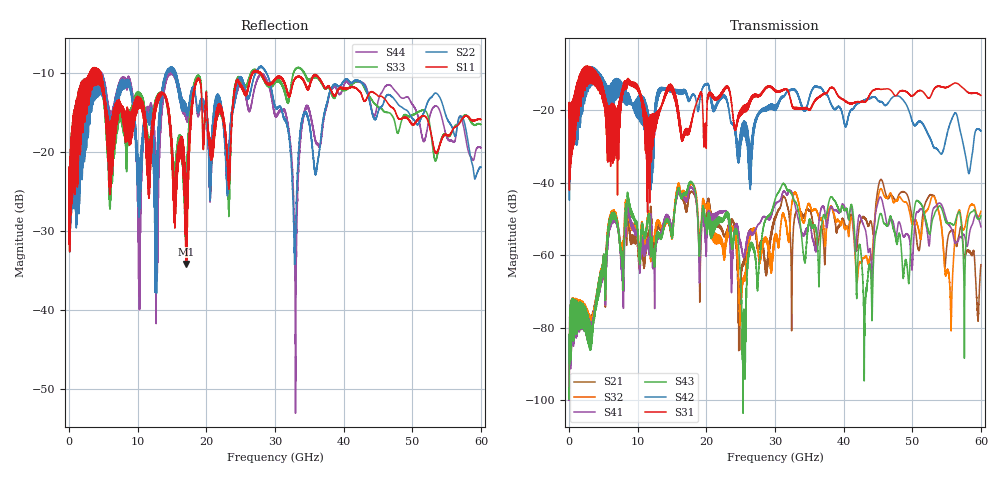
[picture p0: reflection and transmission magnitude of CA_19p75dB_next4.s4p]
!4 port subset of full cascaded channels using these ports:63 37 64 38
# Hz S RI R 50
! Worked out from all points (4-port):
!   6000 points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, 10 MHz to 60 GHz, reference 50 ohm
!   strongest paths, dB at 10 MHz, 15.01 GHz, 30.01 GHz, 45.01 GHz, 60 GHz:
!     S31: -21.8, -13.8, -14.4, -14.1, -16.0
!     S42: -21.9, -14.4, -18.7, -17.3, -25.7
!     S43: -96.7, -55.4, -44.7, -51.1, -49.1
!     S41: -96.8, -52.8, -46.1, -45.4, -52.2
!     S32: -96.7, -55.3, -55.9, -44.1, -47.9
!     S21: -96.8, -53.5, -50.2, -41.6, -62.6
!   lowest |S11| = -34.2 dB at 17.09 GHz (marker M1), VSWR 1.04, Z = 51.1 - j1.64 ohm
!   |S11| at or under -10 dB: start of sweep to 2.988 GHz; 4.613 GHz to 26.66 GHz (22.05 GHz wide, 141 % of centre); 27.96 GHz to end of sweep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
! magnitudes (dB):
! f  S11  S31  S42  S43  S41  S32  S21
! 10 MHz  -23.9  -21.8  -21.9  -96.7  -96.8  -96.7  -96.8
! 17.09 GHz  -34.2  -25.1  -15.1  -42.5  -44.7  -43.4  -46.8
! 25.45 GHz  -12.4  -18.8  -23.6  -83.4  -60.7  -67.1  -62.7
! 31.19 GHz  -10.9  -14.3  -16.4  -40.2  -42.6  -48.6  -44.0
! 43.14 GHz  -13.6  -17.8  -17.1  -74.3  -52.9  -60.6  -49.8
! 45.36 GHz  -12.9  -14.3  -17.6  -48.6  -44.0  -41.8  -39.2
! 60 GHz  -15.9  -16.0  -25.7  -49.1  -52.2  -47.9  -62.6
